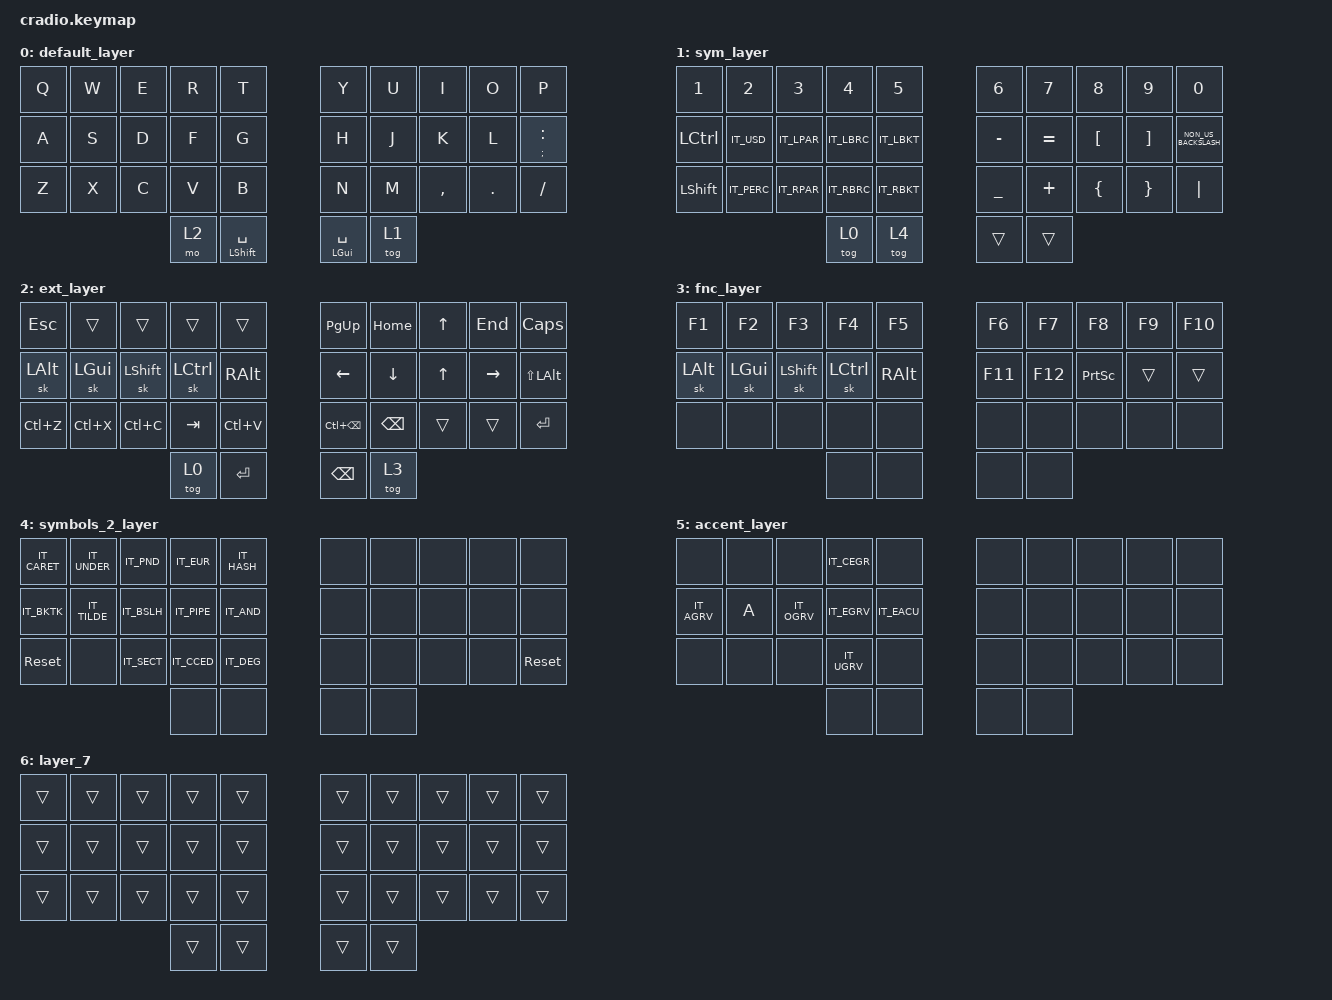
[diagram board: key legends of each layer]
/*
 * Copyright (c) 2020 The ZMK Contributors
 *
 * SPDX-License-Identifier: MIT
 */

#include "keymap_italian.h"
#include <behaviors.dtsi>
#include <dt-bindings/zmk/keys.h>

// Layer definitions

#define BASE 0
#define SYM 1
#define EXT 2
#define FNC 3
#define SYM2 4
#define ACCENT 5
#define SETTINGS 6

// -----------------

&mt {
    //  flavor = "tap-preferred";
    // tapping_term_ms = <200>;
};

&sk { ignore-modifiers; };

/ {
    macros {
        // sometimes my device thinks a modifier is being held down
        // pressing all modifiers fixes it.

        unstick: unstick {
            label = "ZM_unstick";
            compatible = "zmk,behavior-macro";
            #binding-cells = <0>;
            bindings = <&kp LSHIFT &kp RSHIFT &kp LCTRL &kp RCTRL &kp LALT &kp RALT &kp LGUI &kp RGUI>;
        };
    };

    combos {
        compatible = "zmk,combos";

        // both right thumb keys

        combo_accent {
            timeout-ms = <300>;
            key-positions = <32 33>;
            bindings = <&mo 5>;
        };

        // internal-left & external-right thumb keys

        combo_sym2 {
            timeout-ms = <200>;
            key-positions = <31 33>;
            bindings = <&mo 4>;
        };

        // both left thumb keys

        lesc {
            bindings = <&kp ESCAPE>;
            key-positions = <12 13>;
            timeout-ms = <200>;
            require-prior-idle-ms = <200>;
            layers = <0 1>;
        };

        resc {
            bindings = <&kp ESCAPE>;
            key-positions = <16 17>;
            timeout-ms = <200>;
            require-prior-idle-ms = <200>;
            layers = <0 2>;
        };

        firstLayer {
            bindings = <&tog 0>;
            key-positions = <0 1 2>;
            timeout-ms = <200>;
            require-prior-idle-ms = <200>;
            layers = <1 2 3 4 5 6>;
        };
    };

    behaviors {
        dubldot: dubldot {
            compatible = "zmk,behavior-hold-tap";
            label = "DUBLDOT";
            bindings = <&kp>, <&kp>;

            #binding-cells = <2>;
            tapping-term-ms = <200>;
        };
    };

    keymap {
        compatible = "zmk,keymap";

        // Base alpha layer

        default_layer {
            bindings = <
&kp Q  &kp W  &kp E  &kp R  &kp T               &kp Y               &kp U   &kp I      &kp O    &kp P
&kp A  &kp S  &kp D  &kp F  &kp G               &kp H               &kp J   &kp K      &kp L    &dubldot SEMI COLON
&kp Z  &kp X  &kp C  &kp V  &kp B               &kp N               &kp M   &kp COMMA  &kp DOT  &kp SLASH
                     &mo 2  &mt LSHIFT SPACE    &mt LEFT_GUI SPACE  &tog 1
            >;
        };

        // Numbers and high frequency symbols

        sym_layer {
            bindings = <
&kp N1     &kp N2       &kp N3       &kp N4       &kp N5         &kp N6          &kp N7     &kp N8            &kp N9             &kp N0
&kp LCTRL  &kp IT_USD   &kp IT_LPAR  &kp IT_LBRC  &kp IT_LBKT    &kp MINUS       &kp EQUAL  &kp LEFT_BRACKET  &kp RIGHT_BRACKET  &kp NON_US_BACKSLASH
&kp LSHFT  &kp IT_PERC  &kp IT_RPAR  &kp IT_RBRC  &kp IT_RBKT    &kp UNDERSCORE  &kp PLUS   &kp LEFT_BRACE    &kp RIGHT_BRACE    &kp PIPE
                                     &tog 0       &tog 4         &trans          &trans
            >;
        };

        // Main modifiers and arrow keys

        ext_layer {
            bindings = <
&kp ESC    &trans     &trans      &trans     &trans       &kp PG_UP      &kp HOME        &kp UP        &kp END    &kp CAPS
&sk LALT   &sk LGUI   &sk LSHIFT  &sk LCTRL  &kp RALT     &kp LEFT       &kp DOWN_ARROW  &kp UP_ARROW  &kp RIGHT  &kp LS(LALT)
&kp LC(Z)  &kp LC(X)  &kp LC(C)   &kp TAB    &kp LC(V)    &kp LC(BSPC)   &kp BSPC        &trans        &trans     &kp ENTER
                                  &tog 0     &kp ENTER    &kp BACKSPACE  &tog 3
            >;
        };

        // Function keys with modifiers

        fnc_layer {
            bindings = <
&kp F1    &kp F2    &kp F3      &kp F4     &kp F5      &kp F6   &kp F7   &kp F8           &kp F9  &kp F10
&sk LALT  &sk LGUI  &sk LSHIFT  &sk LCTRL  &kp RALT    &kp F11  &kp F12  &kp PRINTSCREEN  &trans  &trans
&none     &none     &none       &none      &none       &none    &none    &none            &none   &none
                                &none      &none       &none    &none
            >;
        };

        // Low frequency symbols.

        symbols_2_layer {
            bindings = <
&kp IT_CARET  &kp IT_UNDER  &kp IT_PND   &kp IT_EUR   &kp IT_HASH    &none  &none  &none  &none  &none
&kp IT_BKTK   &kp IT_TILDE  &kp IT_BSLH  &kp IT_PIPE  &kp IT_AND     &none  &none  &none  &none  &none
&sys_reset    &none         &kp IT_SECT  &kp IT_CCED  &kp IT_DEG     &none  &none  &none  &none  &sys_reset
                                         &none        &none          &none  &none
            >;
        };

        // Used to type regional accents.

        accent_layer {
            bindings = <
&none        &none  &none        &kp IT_CEGR  &none          &none  &none  &none  &none  &none
&kp IT_AGRV  &kp A  &kp IT_OGRV  &kp IT_EGRV  &kp IT_EACU    &none  &none  &none  &none  &none
&none        &none  &none        &kp IT_UGRV  &none          &none  &none  &none  &none  &none
                                 &none        &none          &none  &none
            >;
        };

        // Used to change the keyboard's settings.

        layer_7 {
            bindings = <
&trans  &trans  &trans  &trans  &trans    &trans  &trans  &trans  &trans  &trans
&trans  &trans  &trans  &trans  &trans    &trans  &trans  &trans  &trans  &trans
&trans  &trans  &trans  &trans  &trans    &trans  &trans  &trans  &trans  &trans
                        &trans  &trans    &trans  &trans
            >;
        };
    };
};
